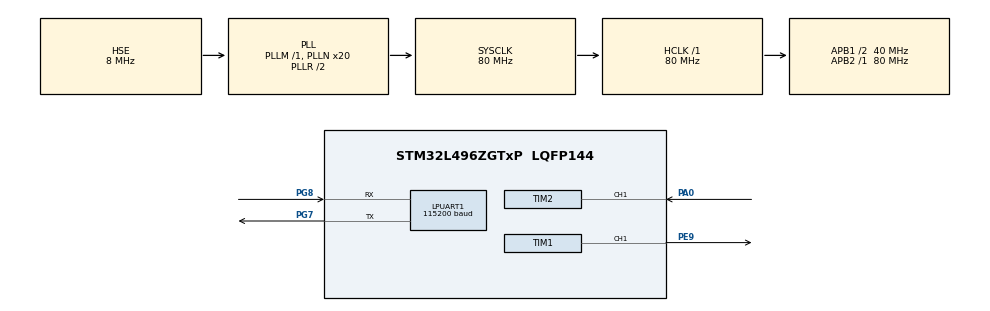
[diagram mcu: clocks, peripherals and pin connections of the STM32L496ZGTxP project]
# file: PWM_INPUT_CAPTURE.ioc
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LPUART1.BaudRate=115200
LPUART1.WordLength=UART_WORDLENGTH_8B
Mcu.Family=STM32L4
Mcu.Name=STM32L496ZGTxP
Mcu.Package=LQFP144
NVIC.PriorityGroup=NVIC_PRIORITYGROUP_4
NVIC.TIM2_IRQn=true\:0\:0\:false\:false\:true\:true\:true\:true
PA0.Signal=S_TIM2_CH1
PE9.Signal=S_TIM1_CH1
PG7.Mode=Asynchronous
PG7.Signal=LPUART1_TX
PG8.Mode=Asynchronous
PG8.Signal=LPUART1_RX
PH0-OSC_IN\ (PH0).Mode=HSE-External-Oscillator
PH0-OSC_IN\ (PH0).Signal=RCC_OSC_IN
PH1-OSC_OUT\ (PH1).Mode=HSE-External-Oscillator
PH1-OSC_OUT\ (PH1).Signal=RCC_OSC_OUT
ProjectManager.HeapSize=0x200
ProjectManager.StackSize=0x400
ProjectManager.TargetToolchain=STM32CubeIDE
RCC.48MHZClocksFreq_Value=24000000
RCC.ADCFreq_Value=80000000
RCC.AHBFreq_Value=80000000
RCC.APB1CLKDivider=RCC_HCLK_DIV2
RCC.APB1Freq_Value=40000000
RCC.APB1TimFreq_Value=80000000
RCC.APB2Freq_Value=80000000
RCC.APB2TimFreq_Value=80000000
RCC.CortexFreq_Value=80000000
RCC.HCLKFreq_Value=80000000
RCC.HSE_VALUE=8000000
RCC.HSI48_VALUE=48000000
RCC.HSI_VALUE=16000000
RCC.LSE_VALUE=32768
RCC.MSIClockRange=RCC_MSIRANGE_11
RCC.MSI_VALUE=48000000
RCC.PLLMUL=RCC_PLL_MUL9
RCC.PLLN=20
RCC.PLLSAI1N=20
RCC.PLLSourceVirtual=RCC_PLLSOURCE_HSE
RCC.PRESCALERUSB=RCC_USBCLKSOURCE_PLL_DIV1_5
RCC.SYSCLKFreq_VALUE=80000000
RCC.SYSCLKSource=RCC_SYSCLKSOURCE_PLLCLK
RCC.SYSCLKSourceVirtual=RCC_SYSCLKSOURCE_PLLCLK
RCC.USBFreq_Value=80000000
RCC.VCOOutputFreq_Value=160000000
SH.S_TIM1_CH1.0=TIM1_CH1,PWM Generation1 CH1
SH.S_TIM2_CH1.0=TIM2_CH1,Input_Capture1_from_TI1
TIM1.Channel-PWM\ Generation1\ CH1=TIM_CHANNEL_1
TIM1.Period=100-1
TIM1.Prescaler=180-1
TIM2.Channel-Input_Capture1_from_TI1=TIM_CHANNEL_1
TIM2.Prescaler=90
VP_TIM1_VS_ClockSourceINT.Mode=Internal
VP_TIM2_VS_ClockSourceINT.Mode=Internal
board=NUCLEO-L496ZG-P

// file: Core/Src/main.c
/* USER CODE BEGIN Header */
/**
  ******************************************************************************
  * @file           : main.c
  * @brief          : Main program body
  ******************************************************************************
  * @attention
  *
  * Copyright (c) 2023 STMicroelectronics.
  * All rights reserved.
  *
  * This software is licensed under terms that can be found in the LICENSE file
  * in the root directory of this software component.
  * If no LICENSE file comes with this software, it is provided AS-IS.
  *
  ******************************************************************************
  */
/* USER CODE END Header */
#include "main.h"

/* USER CODE BEGIN Includes */
#include <stdio.h>
/* USER CODE END Includes */

UART_HandleTypeDef hlpuart1;

TIM_HandleTypeDef htim1;
TIM_HandleTypeDef htim2;

void SystemClock_Config(void);
static void MX_GPIO_Init(void);
static void MX_TIM1_Init(void);
static void MX_TIM2_Init(void);
static void MX_LPUART1_UART_Init(void);

/* USER CODE BEGIN 0 */

#define TIMCLOCK   40000000
#define PRESCALAR  40

uint32_t IC_Val1 = 0;
uint32_t IC_Val2 = 0;
uint32_t Difference = 0;
int Is_First_Captured = 0;

/* Measure Frequency */
float frequency = 0;

/* USER CODE END 0 */

int main(void)
{

  /* MCU Configuration--------------------------------------------------------*/

  /* Reset of all peripherals, Initializes the Flash interface and the Systick. */
  HAL_Init();

  /* Configure the system clock */
  SystemClock_Config();

  /* Initialize all configured peripherals */
  MX_GPIO_Init();
  MX_TIM1_Init();
  MX_TIM2_Init();
  MX_LPUART1_UART_Init();
  /* USER CODE BEGIN 2 */

  //half cycle period
  TIM1->CCR1=50;

  HAL_TIM_PWM_Start(&htim1, TIM_CHANNEL_1);

  HAL_TIM_IC_Start_IT(&htim2, TIM_CHANNEL_1);

  /* USER CODE END 2 */

  /* Infinite loop */
  while (1)
  {

    /* USER CODE BEGIN 3 */
	 // void HAL_TIM_IC_CaptureCallback(TIM_HandleTypeDef *htim);

	//  HAL_Delay(1500);
  }
  /* USER CODE END 3 */
}

void SystemClock_Config(void)
{
  RCC_OscInitTypeDef RCC_OscInitStruct = {0};
  RCC_ClkInitTypeDef RCC_ClkInitStruct = {0};

  /** Configure the main internal regulator output voltage
  */
  if (HAL_PWREx_ControlVoltageScaling(PWR_REGULATOR_VOLTAGE_SCALE1) != HAL_OK)
  {
    Error_Handler();
  }

  /** Initializes the RCC Oscillators according to the specified parameters
  * in the RCC_OscInitTypeDef structure.
  */
  RCC_OscInitStruct.OscillatorType = RCC_OSCILLATORTYPE_HSE;
  RCC_OscInitStruct.HSEState = RCC_HSE_ON;
  RCC_OscInitStruct.PLL.PLLState = RCC_PLL_ON;
  RCC_OscInitStruct.PLL.PLLSource = RCC_PLLSOURCE_HSE;
  RCC_OscInitStruct.PLL.PLLM = 1;
  RCC_OscInitStruct.PLL.PLLN = 20;
  RCC_OscInitStruct.PLL.PLLP = RCC_PLLP_DIV2;
  RCC_OscInitStruct.PLL.PLLQ = RCC_PLLQ_DIV2;
  RCC_OscInitStruct.PLL.PLLR = RCC_PLLR_DIV2;
  if (HAL_RCC_OscConfig(&RCC_OscInitStruct) != HAL_OK)
  {
    Error_Handler();
  }

  /** Initializes the CPU, AHB and APB buses clocks
  */
  RCC_ClkInitStruct.ClockType = RCC_CLOCKTYPE_HCLK|RCC_CLOCKTYPE_SYSCLK
                              |RCC_CLOCKTYPE_PCLK1|RCC_CLOCKTYPE_PCLK2;
  RCC_ClkInitStruct.SYSCLKSource = RCC_SYSCLKSOURCE_PLLCLK;
  RCC_ClkInitStruct.AHBCLKDivider = RCC_SYSCLK_DIV1;
  RCC_ClkInitStruct.APB1CLKDivider = RCC_HCLK_DIV2;
  RCC_ClkInitStruct.APB2CLKDivider = RCC_HCLK_DIV1;

  if (HAL_RCC_ClockConfig(&RCC_ClkInitStruct, FLASH_LATENCY_4) != HAL_OK)
  {
    Error_Handler();
  }
}

static void MX_LPUART1_UART_Init(void)
{

  hlpuart1.Instance = LPUART1;
  hlpuart1.Init.BaudRate = 115200;
  hlpuart1.Init.WordLength = UART_WORDLENGTH_8B;
  hlpuart1.Init.StopBits = UART_STOPBITS_1;
  hlpuart1.Init.Parity = UART_PARITY_NONE;
  hlpuart1.Init.Mode = UART_MODE_TX_RX;
  hlpuart1.Init.HwFlowCtl = UART_HWCONTROL_NONE;
  hlpuart1.Init.OneBitSampling = UART_ONE_BIT_SAMPLE_DISABLE;
  hlpuart1.AdvancedInit.AdvFeatureInit = UART_ADVFEATURE_NO_INIT;
  if (HAL_UART_Init(&hlpuart1) != HAL_OK)
  {
    Error_Handler();
  }

}

static void MX_TIM1_Init(void)
{

  TIM_ClockConfigTypeDef sClockSourceConfig = {0};
  TIM_MasterConfigTypeDef sMasterConfig = {0};
  TIM_OC_InitTypeDef sConfigOC = {0};
  TIM_BreakDeadTimeConfigTypeDef sBreakDeadTimeConfig = {0};

  htim1.Instance = TIM1;
  htim1.Init.Prescaler = 180-1;
  htim1.Init.CounterMode = TIM_COUNTERMODE_UP;
  htim1.Init.Period = 100-1;
  htim1.Init.ClockDivision = TIM_CLOCKDIVISION_DIV1;
  htim1.Init.RepetitionCounter = 0;
  htim1.Init.AutoReloadPreload = TIM_AUTORELOAD_PRELOAD_DISABLE;
  if (HAL_TIM_Base_Init(&htim1) != HAL_OK)
  {
    Error_Handler();
  }
  sClockSourceConfig.ClockSource = TIM_CLOCKSOURCE_INTERNAL;
  if (HAL_TIM_ConfigClockSource(&htim1, &sClockSourceConfig) != HAL_OK)
  {
    Error_Handler();
  }
  if (HAL_TIM_PWM_Init(&htim1) != HAL_OK)
  {
    Error_Handler();
  }
  sMasterConfig.MasterOutputTrigger = TIM_TRGO_RESET;
  sMasterConfig.MasterOutputTrigger2 = TIM_TRGO2_RESET;
  sMasterConfig.MasterSlaveMode = TIM_MASTERSLAVEMODE_DISABLE;
  if (HAL_TIMEx_MasterConfigSynchronization(&htim1, &sMasterConfig) != HAL_OK)
  {
    Error_Handler();
  }
  sConfigOC.OCMode = TIM_OCMODE_PWM1;
  sConfigOC.Pulse = 0;
  sConfigOC.OCPolarity = TIM_OCPOLARITY_HIGH;
  sConfigOC.OCNPolarity = TIM_OCNPOLARITY_HIGH;
  sConfigOC.OCFastMode = TIM_OCFAST_DISABLE;
  sConfigOC.OCIdleState = TIM_OCIDLESTATE_RESET;
  sConfigOC.OCNIdleState = TIM_OCNIDLESTATE_RESET;
  if (HAL_TIM_PWM_ConfigChannel(&htim1, &sConfigOC, TIM_CHANNEL_1) != HAL_OK)
  {
    Error_Handler();
  }
  sBreakDeadTimeConfig.OffStateRunMode = TIM_OSSR_DISABLE;
  sBreakDeadTimeConfig.OffStateIDLEMode = TIM_OSSI_DISABLE;
  sBreakDeadTimeConfig.LockLevel = TIM_LOCKLEVEL_OFF;
  sBreakDeadTimeConfig.DeadTime = 0;
  sBreakDeadTimeConfig.BreakState = TIM_BREAK_DISABLE;
  sBreakDeadTimeConfig.BreakPolarity = TIM_BREAKPOLARITY_HIGH;
  sBreakDeadTimeConfig.BreakFilter = 0;
  sBreakDeadTimeConfig.Break2State = TIM_BREAK2_DISABLE;
  sBreakDeadTimeConfig.Break2Polarity = TIM_BREAK2POLARITY_HIGH;
  sBreakDeadTimeConfig.Break2Filter = 0;
  sBreakDeadTimeConfig.AutomaticOutput = TIM_AUTOMATICOUTPUT_DISABLE;
  if (HAL_TIMEx_ConfigBreakDeadTime(&htim1, &sBreakDeadTimeConfig) != HAL_OK)
  {
    Error_Handler();
  }
  HAL_TIM_MspPostInit(&htim1);

}

static void MX_TIM2_Init(void)
{

  TIM_ClockConfigTypeDef sClockSourceConfig = {0};
  TIM_MasterConfigTypeDef sMasterConfig = {0};
  TIM_IC_InitTypeDef sConfigIC = {0};

  htim2.Instance = TIM2;
  htim2.Init.Prescaler = 90;
  htim2.Init.CounterMode = TIM_COUNTERMODE_UP;
  htim2.Init.Period = 4294967295;
  htim2.Init.ClockDivision = TIM_CLOCKDIVISION_DIV1;
  htim2.Init.AutoReloadPreload = TIM_AUTORELOAD_PRELOAD_DISABLE;
  if (HAL_TIM_Base_Init(&htim2) != HAL_OK)
  {
    Error_Handler();
  }
  sClockSourceConfig.ClockSource = TIM_CLOCKSOURCE_INTERNAL;
  if (HAL_TIM_ConfigClockSource(&htim2, &sClockSourceConfig) != HAL_OK)
  {
    Error_Handler();
  }
  if (HAL_TIM_IC_Init(&htim2) != HAL_OK)
  {
    Error_Handler();
  }
  sMasterConfig.MasterOutputTrigger = TIM_TRGO_RESET;
  sMasterConfig.MasterSlaveMode = TIM_MASTERSLAVEMODE_DISABLE;
  if (HAL_TIMEx_MasterConfigSynchronization(&htim2, &sMasterConfig) != HAL_OK)
  {
    Error_Handler();
  }
  sConfigIC.ICPolarity = TIM_INPUTCHANNELPOLARITY_RISING;
  sConfigIC.ICSelection = TIM_ICSELECTION_DIRECTTI;
  sConfigIC.ICPrescaler = TIM_ICPSC_DIV1;
  sConfigIC.ICFilter = 0;
  if (HAL_TIM_IC_ConfigChannel(&htim2, &sConfigIC, TIM_CHANNEL_1) != HAL_OK)
  {
    Error_Handler();
  }

}

static void MX_GPIO_Init(void)
{

  /* GPIO Ports Clock Enable */
  __HAL_RCC_GPIOH_CLK_ENABLE();
  __HAL_RCC_GPIOA_CLK_ENABLE();
  __HAL_RCC_GPIOE_CLK_ENABLE();
  __HAL_RCC_GPIOG_CLK_ENABLE();
  HAL_PWREx_EnableVddIO2();

}

/* USER CODE BEGIN 4 */

void HAL_TIM_IC_CaptureCallback(TIM_HandleTypeDef *htim)
{
	if (htim->Channel == HAL_TIM_ACTIVE_CHANNEL_1)
		{
		printf("INTEPT IS ENABLE AND CALL BACK FUNCTION CALL\n");
			if (Is_First_Captured==0) // if the first rising edge is not captured
			{
				IC_Val1 = HAL_TIM_ReadCapturedValue(htim, TIM_CHANNEL_1); // read the first value
				Is_First_Captured = 1;  // set the first captured as true
			}

			else   // If the first rising edge is captured, now we will capture the second edge
			{
				IC_Val2 = HAL_TIM_ReadCapturedValue(htim, TIM_CHANNEL_1);  // read second value

				if (IC_Val2 > IC_Val1)
				{
					Difference = IC_Val2-IC_Val1;
				}

				else if (IC_Val1 > IC_Val2)
				{
					Difference = (0xffffffff - IC_Val1) + IC_Val2;
				}

				float refClock = TIMCLOCK/(PRESCALAR);

				frequency = refClock/Difference;

				__HAL_TIM_SET_COUNTER(htim, 0);  // reset the counter
				Is_First_Captured = 0; // set it back to false
			}
		}
}

/* USER CODE END 4 */

void Error_Handler(void)
{
  __disable_irq();
  while (1)
  {
  }
}
